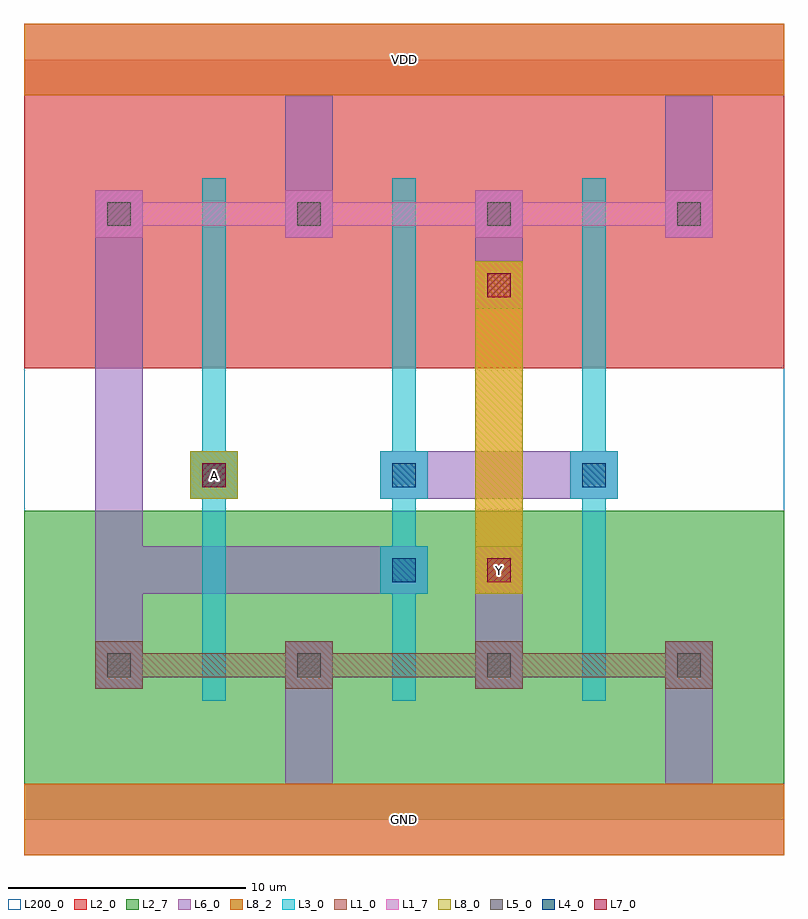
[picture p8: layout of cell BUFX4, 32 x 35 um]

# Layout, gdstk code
import gdstk
lib = gdstk.Library(unit=1e-6, precision=1e-09)
def R(c, l, rs):  # rectangles x0, y0, x1, y1
    for r in rs: c.add(gdstk.rectangle(r[:2], r[2:], *l))
def A(c, l, x, y, w, h, nx, ny, dx, dy):  # array of equal rectangles
    R(c, l, [(x+i*dx, y+j*dy, x+i*dx+w, y+j*dy+h) for i in range(nx) for j in range(ny)])
def P(c, l, *ps):  # polygons
    for p in ps: c.add(gdstk.Polygon(p, *l))
L1_0 = (1, 0)
L1_7 = (1, 7)
L2_0 = (2, 0)
L2_7 = (2, 7)
L3_0 = (3, 0)
L4_0 = (4, 0)
L5_0 = (5, 0)
L6_0 = (6, 0)
L7_0 = (7, 0)
L8_0 = (8, 0)
L8_2 = (8, 2)
L200_0 = (200, 0)

bufx4 = lib.new_cell('BUFX4')
P(bufx4, L1_0, [(3,5.5),(3,7.5),(5,7.5),(5,7),(11,7),(11,7.5),(13,7.5),(13,7),(19,7),(19,7.5),(21,7.5),(21,7),(27,7),(27,7.5),(29,7.5),(29,5.5),(27,5.5),(27,6),(21,6),(21,5.5),(19,5.5),(19,6),(13,6),(13,5.5),(11,5.5),(11,6),(5,6),(5,5.5)])
P(bufx4, L1_7, [(3,24.5),(3,26.5),(5,26.5),(5,26),(11,26),(11,26.5),(13,26.5),(13,26),(19,26),(19,26.5),(21,26.5),(21,26),(27,26),(27,26.5),(29,26.5),(29,24.5),(27,24.5),(27,25),(21,25),(21,24.5),(19,24.5),(19,25),(13,25),(13,24.5),(11,24.5),(11,25),(5,25),(5,24.5)])
R(bufx4, L2_0, [(0,19,32,32)])
R(bufx4, L2_7, [(0,0,32,13)])
P(bufx4, L3_0, [(7.5,5),(7.5,13.5),(7,13.5),(7,15.5),(7.5,15.5),(7.5,27),(8.5,27),(8.5,15.5),(9,15.5),(9,13.5),(8.5,13.5),(8.5,5)],
  [(15.5,5),(15.5,9.5),(15,9.5),(15,11.5),(15.5,11.5),(15.5,13.5),(15,13.5),(15,15.5),(15.5,15.5),(15.5,27),(16.5,27),(16.5,15.5),(17,15.5),(17,13.5),(16.5,13.5),(16.5,11.5),(17,11.5),(17,9.5),(16.5,9.5),(16.5,5)],
  [(23.5,5),(23.5,13.5),(23,13.5),(23,15.5),(23.5,15.5),(23.5,27),(24.5,27),(24.5,15.5),(25,15.5),(25,13.5),(24.5,13.5),(24.5,5)])
A(bufx4, L4_0, 7.5, 14, 1, 1, 3, 1, 8, 0)
R(bufx4, L4_0, [(15.5,10,16.5,11)])
A(bufx4, L5_0, 3.5, 6, 1, 1, 4, 2, 8, 19)
R(bufx4, L6_0, [(19,5.5,21,11.5), (7,13.5,9,15.5), (15,13.5,25,15.5), (19,21.5,21,26.5)])
P(bufx4, L6_0, [(0,-1.5),(0,1.5),(11,1.5),(11,7.5),(13,7.5),(13,1.5),(27,1.5),(27,7.5),(29,7.5),(29,1.5),(32,1.5),(32,-1.5)],
  [(3,5.5),(3,26.5),(5,26.5),(5,11.5),(17,11.5),(17,9.5),(5,9.5),(5,5.5)],
  [(11,24.5),(11,30.5),(0,30.5),(0,33.5),(32,33.5),(32,30.5),(29,30.5),(29,24.5),(27,24.5),(27,30.5),(13,30.5),(13,24.5)])
R(bufx4, L7_0, [(19.5,10,20.5,11), (7.5,14,8.5,15), (19.5,22,20.5,23)])
R(bufx4, L8_0, [(19,9.5,21,23.5), (7,13.5,9,15.5)])
R(bufx4, L8_2, [(19,9.5,21,23.5), (7,13.5,9,15.5)])
R(bufx4, L200_0, [(0,0,32,32)])
bufx4.add(gdstk.FlexPath([(0,32),(32,32)], 3, ends="flush", simple_path=True, layer=8, datatype=2))  # L8_2
bufx4.add(gdstk.FlexPath([(0,0),(32,0)], 3, ends="flush", simple_path=True, layer=8, datatype=2))  # L8_2
bufx4.add(gdstk.Label('GND', (16,0), layer=6, texttype=1))
bufx4.add(gdstk.Label('VDD', (16,32), layer=6, texttype=1))
bufx4.add(gdstk.Label('A', (8,14.5), layer=8, texttype=1))
bufx4.add(gdstk.Label('Y', (20,10.5), layer=8, texttype=1))

lib.write_gds('BUFX4.gds')
